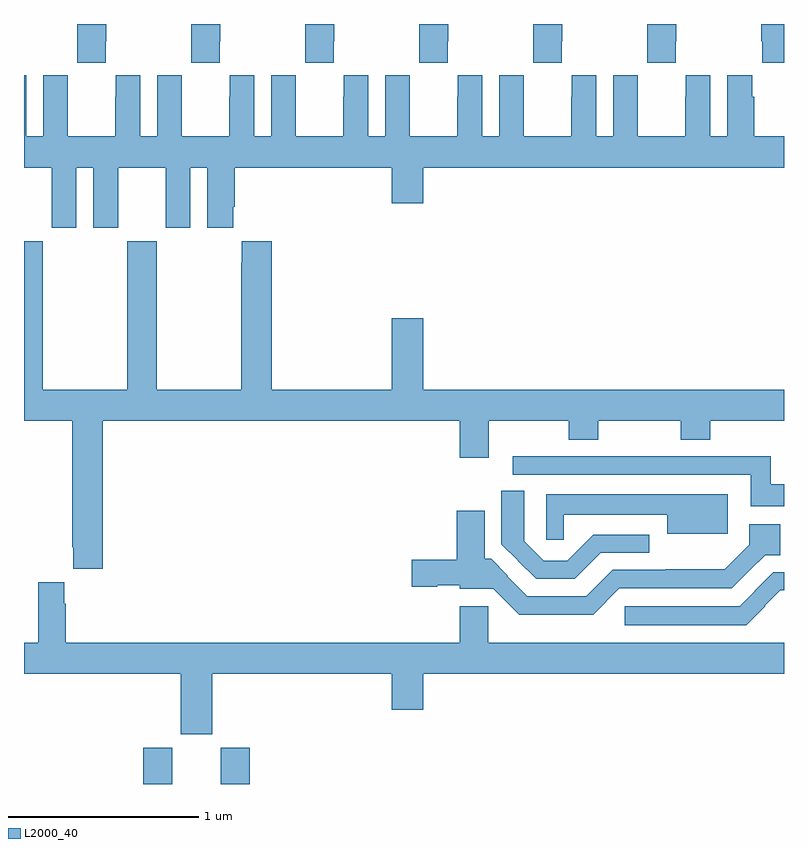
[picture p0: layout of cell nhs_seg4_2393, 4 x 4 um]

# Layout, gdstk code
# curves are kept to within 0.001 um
import gdstk
lib = gdstk.Library(unit=1e-6, precision=1e-09)
def R(c, l, rs):  # rectangles x0, y0, x1, y1
    for r in rs: c.add(gdstk.rectangle(r[:2], r[2:], *l))
def P(c, l, *ps):  # polygons
    for p in ps: c.add(gdstk.Polygon(p, *l))
L2000_40 = (2000, 40)

nhs_seg4_2393 = lib.new_cell('nhs_seg4_2393')
R(nhs_seg4_2393, L2000_40, [(235.628,802.9,235.78,803.091), (236.036,802.9,236.189,803.091)])
P(nhs_seg4_2393, L2000_40, [(236.031,806.809),(236.034,806.809),(236.034,806.9),(235.879,806.9),(235.879,806.809),(235.881,806.809),(235.881,806.697),(236.031,806.697)],
  [(235.431,806.809),(235.434,806.809),(235.434,806.9),(235.279,806.9),(235.279,806.809),(235.281,806.809),(235.281,806.697),(235.431,806.697)],
  [(239,806.9),(238.879,806.9),(238.879,806.809),(238.885,806.809),(238.885,806.697),(239,806.697)],
  [(238.431,806.809),(238.434,806.809),(238.434,806.9),(238.279,806.9),(238.279,806.809),(238.281,806.809),(238.281,806.697),(238.431,806.697)],
  [(237.231,806.809),(237.234,806.809),(237.234,806.9),(237.079,806.9),(237.079,806.809),(237.081,806.809),(237.081,806.697),(237.231,806.697)],
  [(236.631,806.809),(236.634,806.809),(236.634,806.9),(236.479,806.9),(236.479,806.809),(236.481,806.809),(236.481,806.697),(236.631,806.697)],
  [(237.831,806.809),(237.834,806.809),(237.834,806.9),(237.679,806.9),(237.679,806.809),(237.681,806.809),(237.681,806.697),(237.831,806.697)],
  [(239,806.308),(238.844,806.308),(238.844,806.516),(238.834,806.516),(238.834,806.629),(238.7,806.629),(238.7,806.308),(238.612,806.308),(238.612,806.629),(238.482,806.629),(238.482,806.516),(238.481,806.516),(238.481,806.308),(238.231,806.308),(238.231,806.516),(238.23,806.516),(238.23,806.629),(238.1,806.629),(238.1,806.308),(238.012,806.308),(238.012,806.629),(237.882,806.629),(237.882,806.516),(237.881,806.516),(237.881,806.308),(237.631,806.308),(237.631,806.516),(237.63,806.516),(237.63,806.629),(237.5,806.629),(237.5,806.308),(237.412,806.308),(237.412,806.629),(237.282,806.629),(237.282,806.516),(237.281,806.516),(237.281,806.308),(237.031,806.308),(237.031,806.516),(237.03,806.516),(237.03,806.629),(236.9,806.629),(236.9,806.308),(236.812,806.308),(236.812,806.629),(236.682,806.629),(236.682,806.516),(236.681,806.516),(236.681,806.308),(236.431,806.308),(236.431,806.516),(236.43,806.516),(236.43,806.629),(236.3,806.629),(236.3,806.308),(236.212,806.308),(236.212,806.629),(236.082,806.629),(236.082,806.516),(236.081,806.516),(236.081,806.308),(235.831,806.308),(235.831,806.516),(235.83,806.516),(235.83,806.629),(235.7,806.629),(235.7,806.308),(235.612,806.308),(235.612,806.629),(235.482,806.629),(235.482,806.516),(235.481,806.516),(235.481,806.308),(235.231,806.308),(235.231,806.516),(235.23,806.516),(235.23,806.629),(235.1,806.629),(235.1,806.308),(235.012,806.308),(235.012,806.629),(235,806.629),(235,806.144),(235.145,806.144),(235.145,805.827),(235.276,805.827),(235.276,806.144),(235.364,806.144),(235.364,805.827),(235.495,805.827),(235.495,806.144),(235.745,806.144),(235.745,805.827),(235.876,805.827),(235.876,806.144),(235.964,806.144),(235.964,805.827),(236.101,805.827),(236.101,805.939),(236.108,805.939),(236.108,806.144),(236.936,806.144),(236.936,805.956),(237.1,805.956),(237.1,806.144),(239,806.144)],
  [(237.1,805.351),(236.936,805.351),(236.936,804.976),(236.303,804.976),(236.303,805.756),(236.147,805.756),(236.147,805.643),(236.143,805.643),(236.143,804.976),(235.698,804.976),(235.698,805.756),(235.543,805.756),(235.543,804.976),(235.098,804.976),(235.098,805.756),(235,805.756),(235,804.812),(235.255,804.812),(235.255,804.145),(235.259,804.145),(235.259,804.033),(235.415,804.033),(235.415,804.812),(237.293,804.812),(237.293,804.618),(237.445,804.618),(237.445,804.812),(237.868,804.812),(237.868,804.713),(238.023,804.713),(238.023,804.812),(238.456,804.812),(238.456,804.713),(238.611,804.713),(238.611,804.812),(239,804.812),(239,804.976),(237.1,804.976)],
  [(239,804.478),(238.93,804.478),(238.93,804.626),(238.699,804.626),(238.699,804.624),(238.367,804.624),(238.367,804.626),(238.111,804.626),(238.111,804.624),(237.573,804.624),(237.573,804.528),(238.826,804.528),(238.826,804.362),(239,804.362)],
  [(238.036,804.117),(238.291,804.117),(238.291,804.213),(237.996,804.213),(237.858,804.075),(237.735,804.075),(237.634,804.177),(237.634,804.443),(237.512,804.443),(237.512,804.163),(237.695,803.979),(237.898,803.979)],
  [(237.842,804.317),(238.385,804.317),(238.385,804.218),(238.704,804.218),(238.704,804.424),(237.748,804.424),(237.748,804.186),(237.842,804.186)],
  [(238.134,803.931),(238.726,803.931),(238.901,804.104),(238.981,804.104),(238.981,804.268),(238.818,804.268),(238.818,804.159),(238.688,804.029),(238.378,804.029),(238.378,804.027),(238.098,804.027),(237.96,803.889),(237.648,803.889),(237.543,803.994),(237.546,803.997),(237.458,804.085),(237.424,804.085),(237.424,804.337),(237.278,804.337),(237.278,804.08),(237.042,804.08),(237.042,803.938),(237.174,803.938),(237.174,803.945),(237.294,803.945),(237.294,803.928),(237.471,803.928),(237.607,803.792),(237.995,803.792)],
  [(238.901,803.836),(238.899,803.838),(238.98,803.919),(239,803.919),(239,804.015),(238.943,804.015),(238.846,803.918),(238.848,803.916),(238.767,803.835),(238.161,803.835),(238.161,803.735),(238.8,803.735)],
  [(235.99,803.48),(236.936,803.48),(236.936,803.292),(237.1,803.292),(237.1,803.48),(239,803.48),(239,803.644),(237.443,803.644),(237.443,803.835),(237.293,803.835),(237.293,803.644),(235.22,803.644),(235.22,803.849),(235.213,803.849),(235.213,803.962),(235.076,803.962),(235.076,803.644),(235,803.644),(235,803.48),(235.826,803.48),(235.826,803.163),(235.99,803.163)])

lib.write_gds('nhs_seg4_2393.gds')
